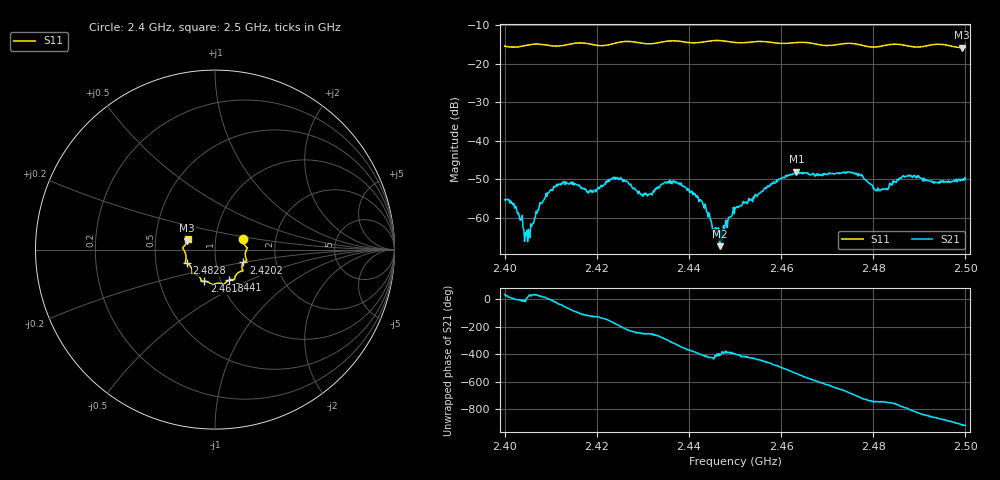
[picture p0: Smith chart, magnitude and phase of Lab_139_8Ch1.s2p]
# Hz S RI R 50
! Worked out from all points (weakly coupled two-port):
!   601 points, 2.4 GHz to 2.5 GHz, reference 50 ohm
!   highest |S21| = -48.00 dB at 2.4633 GHz (marker M1); lowest = -67.4 dB at 2.4467 GHz (marker M2)
!   lowest |S11| = -15.8 dB at 2.4992 GHz (marker M3), VSWR 1.39, Z = 36.4 + j3.71 ohm
!   |S11| at or under -10 dB: start of sweep to end of sweep
!   S12 and S22 are empty: the file has one direction only
!   S11 on the Smith chart (normalised r, x): 2.4 GHz: 1.36, +0.17; 2.4202 GHz: 1.36, -0.20; 2.441 GHz: 1.10, -0.39; 2.4618 GHz: 0.84, -0.30; 2.4828 GHz: 0.72, -0.11; 2.5 GHz: 0.73, +0.09
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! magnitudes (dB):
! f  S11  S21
! 2.4 GHz  -15.4  -55.3
! 2.4022 GHz  -15.7  -57.5
! 2.4048 GHz  -15.1  -63.3
! 2.4103 GHz  -15.3  -53.0
! 2.4167 GHz  -14.6  -52.4
! 2.4202 GHz  -15.2  -52.4
! 2.424 GHz  -14.6  -50.0
! 2.43 GHz  -14.7  -54.4
! 2.4333 GHz  -14.5  -51.9
! 2.437 GHz  -14.0  -50.9
! 2.441 GHz  -14.6  -53.5
! 2.4467 GHz  -14.0  -67.4
! 2.45 GHz  -14.5  -57.4
! 2.4618 GHz  -14.6  -49.0
! 2.4633 GHz  -14.5  -48.0
! 2.4667 GHz  -14.6  -48.7
! 2.475 GHz  -14.7  -48.3
! 2.4828 GHz  -15.1  -52.5
! 2.4833 GHz  -15.0  -52.5
! 2.4877 GHz  -15.4  -48.9
! 2.4992 GHz  -15.8  -49.9
! 2.5 GHz  -15.7  -50.0
